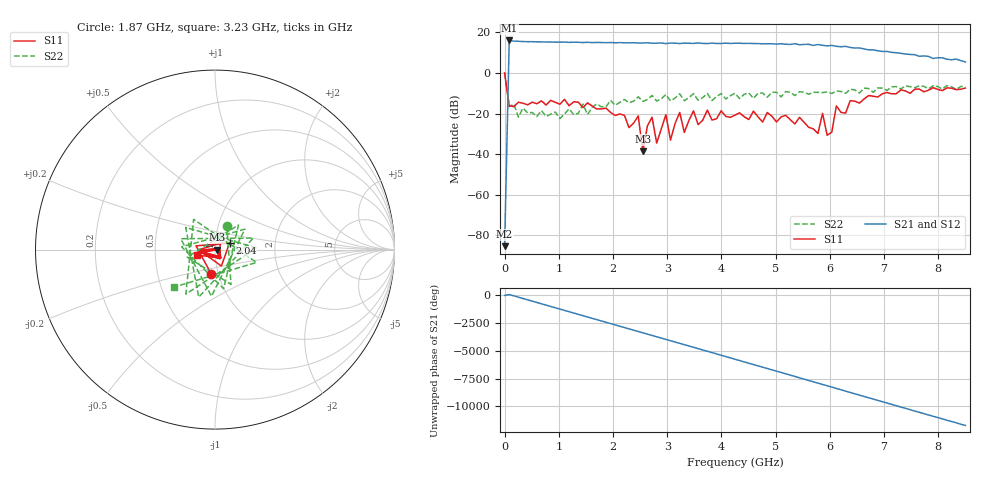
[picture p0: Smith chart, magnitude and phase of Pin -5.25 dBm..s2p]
! RsaToolbox (C) 2013 Rohde & Schwarz America
! Number of points: 101
! Number of ports: 2
! Balanced ports?: 0
# Hz S RI R 50
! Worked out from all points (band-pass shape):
!   101 points, 9 kHz to 8.5 GHz, reference 50 ohm
!   highest |S21| = 16.06 dB at 85.01 MHz (marker M1); lowest = -85.3 dB at 9 kHz (marker M2)
!   |S21| within 3 dB of the highest: 82.49 MHz to 6.165 GHz (6.083 GHz wide, 195 % of centre); 6.246 GHz to 6.306 GHz (60.14 MHz wide, 0.958 % of centre)
!   lowest |S11| = -38.6 dB at 2.55 GHz (marker M3), VSWR 1.02, Z = 51.2 - j0.0853 ohm
!   |S11| at or under -10 dB: 53.21 MHz to 6.995 GHz (6.942 GHz wide, 197 % of centre); 7.11 GHz to 7.234 GHz (124.2 MHz wide, 1.73 % of centre)
!   |S22| runs from -22.4 to 0.1 dB; largest |S21 - S12| = 0
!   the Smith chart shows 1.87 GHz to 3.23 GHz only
!   S11 on the Smith chart (normalised r, x): 1.87 GHz: 0.92, -0.25; 2.04 GHz: 1.17, +0.09; 3.23 GHz: 0.81, -0.05
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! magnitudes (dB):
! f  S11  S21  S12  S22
! 9 kHz  0.1  -85.3  -85.3  0.1
! 85.01 MHz  -16.0  16.1  16.1  -16.6
! 1.02 GHz  -15.4  15.2  15.2  -22.4
! 1.445 GHz  -17.0  15.0  15.0  -15.3
! 1.87 GHz  -17.3  15.0  15.0  -16.6
! 2.04 GHz  -20.9  14.9  14.9  -15.9
! 2.465 GHz  -21.2  14.8  14.8  -11.7
! 2.55 GHz  -38.6  14.8  14.8  -14.0
! 2.72 GHz  -21.8  14.7  14.7  -11.1
! 2.805 GHz  -34.5  14.7  14.7  -13.8
! 2.89 GHz  -27.6  14.8  14.8  -12.7
! 2.975 GHz  -20.5  14.5  14.5  -10.6
! 3.06 GHz  -33.0  14.8  14.8  -13.7
! 3.23 GHz  -19.4  14.5  14.5  -10.2
! 3.315 GHz  -29.2  14.8  14.8  -13.6
! 3.485 GHz  -18.6  14.6  14.6  -10.2
! 3.57 GHz  -25.4  14.8  14.8  -13.4
! 4.25 GHz  -20.8  14.7  14.7  -9.9
! 5.695 GHz  -27.5  13.6  13.6  -9.5
! 6.12 GHz  -16.2  13.2  13.2  -8.8
! 7.14 GHz  -10.2  10.2  10.2  -6.8
! 8.5 GHz  -7.4  5.5  5.5  -6.7
